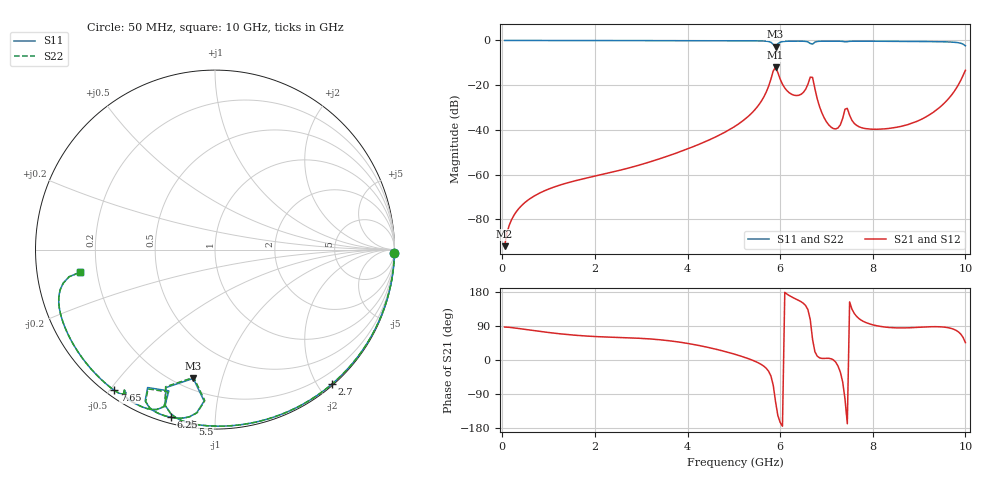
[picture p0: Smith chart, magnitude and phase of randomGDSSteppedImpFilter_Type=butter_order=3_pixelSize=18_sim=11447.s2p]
! freq	dB(S11)	phase(S11)	dB(S12)	phase(S12)
!  dB(S21)	phase(S21)	dB(S22)	phase(S22)
!S-par simulation data
#  GHz  S  DB  R 50
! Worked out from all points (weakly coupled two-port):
!   200 points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, 50 MHz to 10 GHz, reference 50 ohm
!   highest |S21| = -11.96 dB at 5.9 GHz (marker M1); lowest = -91.9 dB at 50 MHz (marker M2)
!   lowest |S11| = -2.8 dB at 5.9 GHz (marker M3), VSWR 6.35, Z = 13.3 - j40.5 ohm
!   |S11| at or under -10 dB: nowhere
!   |S22| runs from -2.8 to 0.0 dB; largest |S21 - S12| = 0
!   S11 on the Smith chart (normalised r, x): 50 MHz: open; 2.7 GHz: 0.02, -2.19; 5.5 GHz: 0.02, -0.88; 6.25 GHz: 0.03, -0.77; 7.65 GHz: 0.02, -0.51; 10 GHz: 0.14, -0.08
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0.05  -0.00 -0.9  -91.95 87.0  -91.95 87.0  -0.00 -0.9
0.8  -0.02 -14.9  -68.27 75.6  -68.27 75.6  -0.02 -14.9
1.75  -0.04 -32.2  -61.83 63.8  -61.83 63.8  -0.04 -32.2
2.7  -0.06 -49.0  -57.17 58.7  -57.17 58.7  -0.06 -49.0
3.4  -0.08 -61.1  -52.87 53.4  -52.87 53.4  -0.08 -61.1
5.05  -0.14 -89.0  -38.03 14.1  -38.03 14.1  -0.14 -89.0
5.5  -0.19 -97.4  -29.84 -5.8  -29.84 -5.8  -0.19 -97.4
5.8  -0.80 -107.7  -17.33 -42.0  -17.33 -42.0  -0.81 -107.8
5.9  -2.76 -99.6  -11.96 -109.6  -11.96 -109.6  -2.83 -99.5
6  -0.77 -96.4  -17.28 -164.7  -17.28 -164.7  -0.78 -96.2
6.25  -0.30 -104.8  -24.08 166.4  -24.08 166.4  -0.30 -104.7
6.45  -0.31 -109.6  -24.09 153.9  -24.09 153.9  -0.31 -109.5
6.7  -1.64 -108.1  -16.53 54.5  -16.53 54.5  -1.56 -108.3
6.85  -0.37 -111.7  -29.55 5.7  -29.55 5.7  -0.36 -111.8
7.05  -0.30 -116.4  -37.76 4.4  -37.76 4.4  -0.30 -116.4
7.25  -0.32 -120.2  -39.08 -16.1  -39.08 -16.1  -0.33 -120.3
7.45  -0.54 -121.8  -30.36 -168.2  -30.36 -168.2  -0.57 -121.7
7.65  -0.32 -125.7  -37.93 115.2  -37.93 115.2  -0.32 -125.6
8.35  -0.37 -137.0  -39.32 85.9  -39.32 85.9  -0.37 -137.0
9.35  -0.54 -153.7  -31.44 87.9  -31.44 87.9  -0.54 -153.7
9.75  -0.79 -162.4  -23.03 81.0  -23.03 81.0  -0.79 -162.4
10  -2.38 -170.5  -13.35 45.9  -13.35 45.9  -2.37 -170.5
